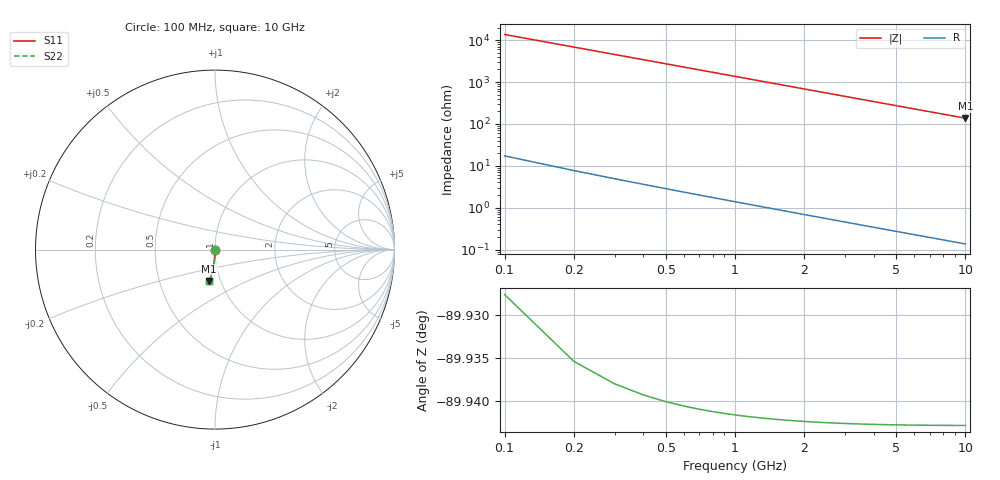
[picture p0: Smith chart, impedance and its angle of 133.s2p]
# Hz S RI R 50.00
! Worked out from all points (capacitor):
!   100 points, 100 MHz to 10 GHz, reference 50 ohm
!   read as one part in shunt: C = 116 fF near 100 MHz
!   lowest |Z| = 137 ohm at 10 GHz (marker M1)
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1e8  -2.26e-06 -0.00181  1 -0.00185  1 -0.00185  -2.26e-06 -0.00181
2e8  -1.41e-05 -0.00362  1 -0.00369  1 -0.00369  -1.41e-05 -0.00362
3e8  -3.26e-05 -0.00544  1 -0.00554  1 -0.00554  -3.26e-05 -0.00544
4e8  -5.78e-05 -0.00725  0.9999 -0.00739  0.9999 -0.00739  -5.78e-05 -0.00725
5e8  -8.98e-05 -0.00906  0.9999 -0.00923  0.9999 -0.00923  -8.98e-05 -0.00906
6e8  -0.000128 -0.0109  0.9999 -0.0111  0.9999 -0.0111  -0.000128 -0.0109
7e8  -0.000174 -0.0127  0.9998 -0.0129  0.9998 -0.0129  -0.000174 -0.0127
8e8  -0.000226 -0.0145  0.9998 -0.0148  0.9998 -0.0148  -0.000226 -0.0145
9e8  -0.000284 -0.0163  0.9997 -0.0166  0.9997 -0.0166  -0.000284 -0.0163
1.1e9  -0.000422 -0.0199  0.9996 -0.0203  0.9996 -0.0203  -0.000422 -0.0199
1.4e9  -0.000678 -0.0253  0.9993 -0.0258  0.9993 -0.0258  -0.000678 -0.0253
1.8e9  -0.00111 -0.0326  0.9989 -0.0332  0.9989 -0.0332  -0.00111 -0.0326
2.1e9  -0.00151 -0.038  0.9985 -0.0387  0.9985 -0.0387  -0.00151 -0.038
2.5e9  -0.00213 -0.0452  0.9979 -0.0461  0.9979 -0.0461  -0.00213 -0.0452
2.9e9  -0.00285 -0.0524  0.9971 -0.0534  0.9971 -0.0534  -0.00285 -0.0524
3.4e9  -0.00391 -0.0613  0.9961 -0.0625  0.9961 -0.0625  -0.00391 -0.0613
4.2e9  -0.00593 -0.0756  0.9941 -0.0771  0.9941 -0.0771  -0.00593 -0.0756
5.1e9  -0.0087 -0.0915  0.9913 -0.0933  0.9913 -0.0933  -0.0087 -0.0915
5.9e9  -0.0116 -0.1054  0.9884 -0.1076  0.9884 -0.1076  -0.0116 -0.1054
6.7e9  -0.0149 -0.1193  0.9851 -0.1217  0.9851 -0.1217  -0.0149 -0.1193
8.4e9  -0.0231 -0.1482  0.9769 -0.1512  0.9769 -0.1512  -0.0231 -0.1482
1e10  -0.0323 -0.1745  0.9677 -0.1782  0.9677 -0.1782  -0.0323 -0.1745
